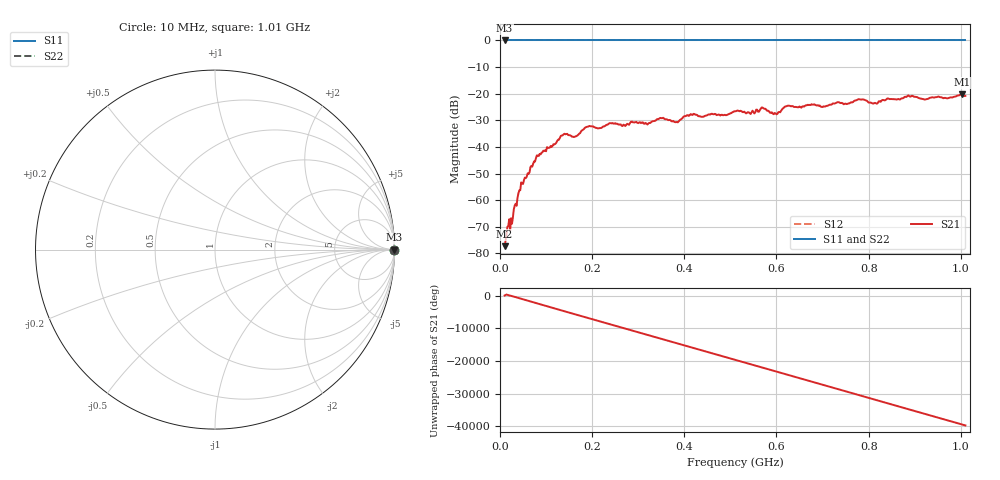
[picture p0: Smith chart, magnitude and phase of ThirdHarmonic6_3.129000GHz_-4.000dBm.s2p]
! 8/17/2025 9:18:26 AM
! C:\ANRITSUVNA\TEMP\TEMP.S2P
! CHANNEL.1
! TR.MEASUREMENT
! RAW.DATA
! RF.CORRECTION.OFF
! AVERAGING.OFF
! IF.BANDWIDTH: 5KHZ
! SWEEPTYPE:  FREQ.SWEEP(Linear)
! Reference Plane Port Info
! PORT:  PORT1  PORT2
! DISTANCE:  0  m  0  m
! TIME:  0  s  0  s
! PHASE.OFFSET:  0  deg.  0  deg.
! LOSS:  0  dB  0  dB
! REF.LOSS:  0  dB  0  dB
! REF.FREQ:  0  Hz  0  Hz
! Power Info
! POWER:  -20  dBm  -20  dBm
! EFF.POWER:  -20  dBm  -20  dBm
! SOURCE.ATTEN:  0  dB  0  dB
! TEST.ATTEN:  0  dB  0  dB
# GHZ S RI R 50.0
! FREQ.GHZ  S11RE  S11IM  S21RE  S21IM  S12RE  S12IM  S22RE  S22IM
!; PortSelection: Port_12
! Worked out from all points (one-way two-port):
!   501 points, 10 MHz to 1.01 GHz, reference 50 ohm
!   highest |S21| = -20.28 dB at 1.002 GHz (marker M1); lowest = -77.3 dB at 10 MHz (marker M2)
!   lowest |S11| = 0.0 dB at 10 MHz (marker M3)
!   |S11| at or under -10 dB: nowhere
!   |S22| runs from 0.0 to 0.0 dB; largest |S21 - S12| = 1.1
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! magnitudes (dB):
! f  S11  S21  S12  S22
! 10 MHz  0.0  -77.3  0.0  0.0
! 16 MHz  0.0  -70.0  0.0  0.0
! 26 MHz  0.0  -68.9  0.0  0.0
! 44 MHz  0.0  -56.2  0.0  0.0
! 78 MHz  0.0  -44.2  0.0  0.0
! 136 MHz  0.0  -35.6  0.0  0.0
! 162 MHz  0.0  -36.2  0.0  0.0
! 178 MHz  0.0  -33.8  0.0  0.0
! 192 MHz  0.0  -32.3  0.0  0.0
! 344 MHz  0.0  -29.5  0.0  0.0
! 382 MHz  0.0  -30.7  0.0  0.0
! 416 MHz  0.0  -27.9  0.0  0.0
! 510 MHz  0.0  -26.6  0.0  0.0
! 572 MHz  0.0  -25.5  0.0  0.0
! 598 MHz  0.0  -27.4  0.0  0.0
! 622 MHz  0.0  -24.7  0.0  0.0
! 678 MHz  0.0  -24.1  0.0  0.0
! 782 MHz  0.0  -22.1  0.0  0.0
! 814 MHz  0.0  -23.4  0.0  0.0
! 844 MHz  0.0  -21.9  0.0  0.0
! 1.002 GHz  0.0  -20.3  0.0  0.0
! 1.01 GHz  0.0  -20.8  0.0  0.0
